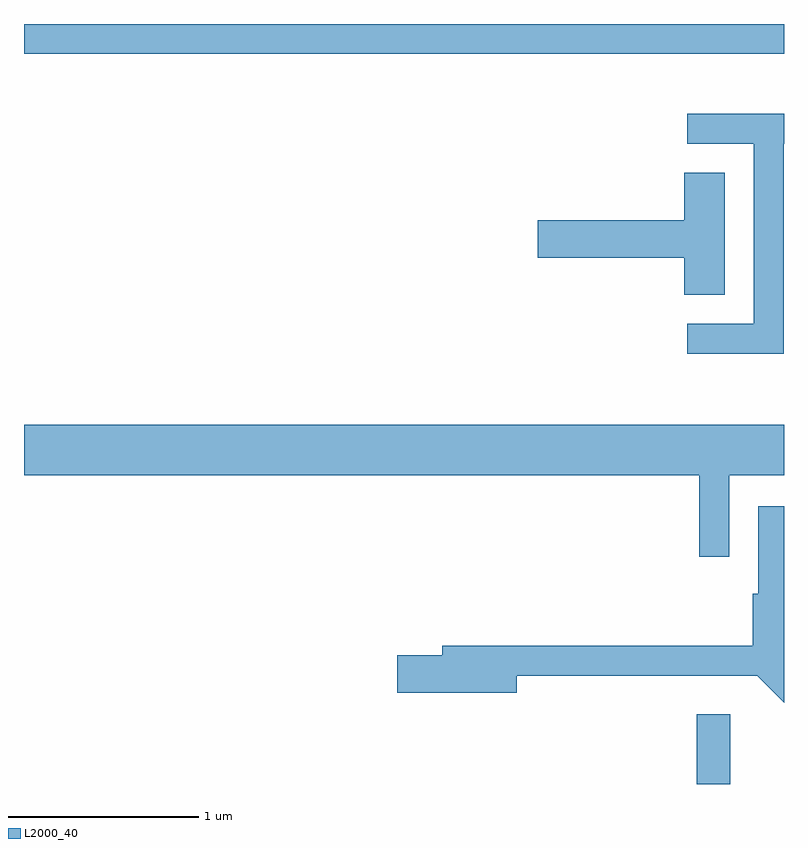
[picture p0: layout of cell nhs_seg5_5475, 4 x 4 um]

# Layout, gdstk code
import gdstk
lib = gdstk.Library(unit=1e-6, precision=1e-09)
def R(c, l, rs):  # rectangles x0, y0, x1, y1
    for r in rs: c.add(gdstk.rectangle(r[:2], r[2:], *l))
def P(c, l, *ps):  # polygons
    for p in ps: c.add(gdstk.Polygon(p, *l))
L2000_40 = (2000, 40)

nhs_seg5_5475 = lib.new_cell('nhs_seg5_5475')
R(nhs_seg5_5475, L2000_40, [(351.151,1444.072,351.329,1444.439), (347.611,1447.916,351.611,1448.072)])
P(nhs_seg5_5475, L2000_40, [(351.609,1447.441),(351.611,1447.441),(351.611,1447.599),(351.103,1447.599),(351.103,1447.441),(351.451,1447.441),(351.451,1446.494),(351.103,1446.494),(351.103,1446.336),(351.609,1446.336)],
  [(351.299,1447.289),(351.086,1447.289),(351.086,1447.039),(350.316,1447.039),(350.316,1446.841),(351.086,1446.841),(351.086,1446.646),(351.299,1446.646)],
  [(351.324,1445.696),(351.611,1445.696),(351.611,1445.964),(347.611,1445.964),(347.611,1445.696),(351.166,1445.696),(351.166,1445.268),(351.324,1445.268)],
  [(351.611,1445.534),(351.476,1445.534),(351.476,1445.074),(351.446,1445.074),(351.446,1444.799),(349.811,1444.799),(349.811,1444.749),(349.576,1444.749),(349.576,1444.551),(350.204,1444.551),(350.204,1444.641),(351.469,1444.641),(351.611,1444.499)])

lib.write_gds('nhs_seg5_5475.gds')
